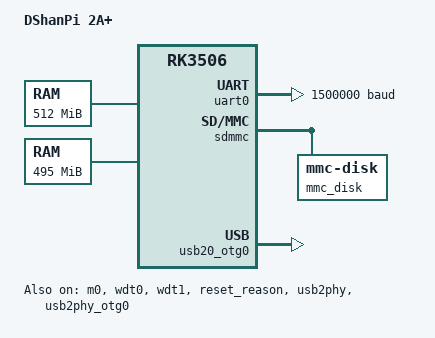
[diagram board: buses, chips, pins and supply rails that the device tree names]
/*
 * Copyright (c) 2026 Jiaming Zhao
 *
 * SPDX-License-Identifier: Apache-2.0
 */

/dts-v1/;

#include <rockchip/rk3506.dtsi>
#include <rockchip/rk3506-pinctrl.dtsi>

/ {
	compatible = "dshanpi,2a-plus", "rockchip,rk3506";
	model = "DShanPi 2A+";

	aliases {
		sdhc0 = &sdmmc;
	};

	chosen {
		zephyr,sram = &zephyr_ram;
		zephyr,console = &uart0;
		zephyr,shell-uart = &uart0;
	};

	/*
	 * Physical DDR available on the board. This is intentionally independent
	 * of any particular firmware loader.
	 */
	ddr: memory@0 {
		device_type = "memory";
		reg = <0x00000000 0x20000000>;
	};

	/*
	 * Bottom 16 MiB are reserved for the platform firmware arena. The exact
	 * occupants (secure monitor, OP-TEE, loader, or none) are not assumed
	 * here. Zephyr links and allocates only from the declared RAM region below.
	 */
	reserved-memory {
		#address-cells = <1>;
		#size-cells = <1>;
		ranges;

		firmware: firmware@0 {
			reg = <0x00000000 0x01000000>;
			no-map;
		};

		m0_shared: m0-shared@1ff00000 {
			reg = <0x1ff00000 0x00100000>;
			no-map;
		};
	};

	zephyr_ram: memory@1000000 {
		compatible = "mmio-sram";
		reg = <0x01000000 0x1ef00000>;
		device_type = "memory";
	};
};

&cpu0 {
	clock-frequency = <1179648000>;
};

&cpu1 {
	clock-frequency = <1179648000>;
};

&cpu2 {
	clock-frequency = <1179648000>;
};

&m0 {
	memory-region = <&m0_shared>;
	status = "okay";
};

&pinctrl {
	uart0_default: uart0-default {
		group0 {
			pinmux = <RK3506_PINCTRL_MUX(0, 22, 1)>,
				 <RK3506_PINCTRL_MUX(0, 23, 1)>;
			bias-pull-up;
		};
	};

	led_default: led-default {
		group0 {
			pinmux = <RK3506_PINCTRL_MUX(0, 16, 0)>;
			bias-disable;
		};
	};
};

&uart0 {
	current-speed = <1500000>;
	pinctrl-0 = <&uart0_default>;
	pinctrl-names = "default";
	status = "okay";
};

&sdmmc {
	pinctrl-0 = <&sdmmc_bus4>, <&sdmmc_clk>, <&sdmmc_cmd>;
	pinctrl-names = "default";
	status = "okay";

	mmc_disk: mmc {
		compatible = "zephyr,mmc-disk";
		disk-name = "EMMC";
		bus-width = <4>;
		status = "okay";
	};
};

&wdt0 {
	status = "okay";
};

&wdt1 {
	status = "okay";
};

&reset_reason {
	status = "okay";
};

&usb2phy {
	status = "okay";
};

&usb2phy_otg0 {
	status = "okay";
};

zephyr_udc0: &usb20_otg0 {
	status = "okay";
};
